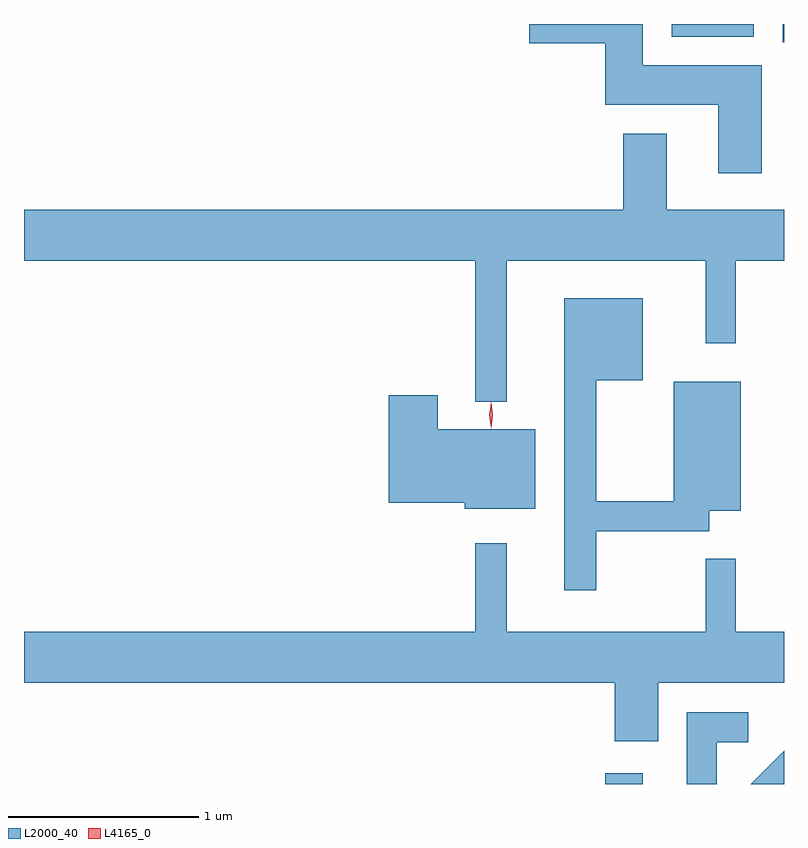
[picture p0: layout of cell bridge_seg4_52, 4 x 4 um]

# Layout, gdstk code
import gdstk
lib = gdstk.Library(unit=1e-6, precision=1e-09)
def R(c, l, rs):  # rectangles x0, y0, x1, y1
    for r in rs: c.add(gdstk.rectangle(r[:2], r[2:], *l))
def P(c, l, *ps):  # polygons
    for p in ps: c.add(gdstk.Polygon(p, *l))
L2000_40 = (2000, 40)
L4165_0 = (4165, 0)

bridge_seg4_52 = lib.new_cell('bridge_seg4_52')
R(bridge_seg4_52, L2000_40, [(1303.466,1365.242,1303.664,1365.299), (1304.401,1369.146,1304.407,1369.242), (1303.816,1369.176,1304.249,1369.242)])
P(bridge_seg4_52, L2000_40, [(1304.289,1369.024),(1303.664,1369.024),(1303.664,1369.242),(1303.066,1369.242),(1303.066,1369.141),(1303.466,1369.141),(1303.466,1368.816),(1304.061,1368.816),(1304.061,1368.456),(1304.289,1368.456)],
  [(1302.949,1367.996),(1303.996,1367.996),(1303.996,1367.563),(1304.154,1367.563),(1304.154,1367.996),(1304.407,1367.996),(1304.407,1368.264),(1303.789,1368.264),(1303.789,1368.664),(1303.561,1368.664),(1303.561,1368.264),(1300.407,1368.264),(1300.407,1367.996),(1302.781,1367.996),(1302.781,1367.253),(1302.949,1367.253)],
  [(1303.419,1366.571),(1304.014,1366.571),(1304.014,1366.681),(1304.179,1366.681),(1304.179,1367.359),(1303.826,1367.359),(1303.826,1366.729),(1303.419,1366.729),(1303.419,1367.366),(1303.664,1367.366),(1303.664,1367.799),(1303.251,1367.799),(1303.251,1366.263),(1303.419,1366.263)],
  [(1303.099,1367.109),(1302.584,1367.109),(1302.584,1367.289),(1302.326,1367.289),(1302.326,1366.721),(1302.726,1366.721),(1302.726,1366.691),(1303.099,1366.691)],
  [(1304.407,1366.044),(1304.154,1366.044),(1304.154,1366.428),(1303.996,1366.428),(1303.996,1366.044),(1302.949,1366.044),(1302.949,1366.508),(1302.781,1366.508),(1302.781,1366.044),(1300.407,1366.044),(1300.407,1365.776),(1303.516,1365.776),(1303.516,1365.466),(1303.744,1365.466),(1303.744,1365.776),(1304.407,1365.776)],
  [(1304.054,1365.461),(1304.218,1365.461),(1304.218,1365.619),(1303.896,1365.619),(1303.896,1365.242),(1304.054,1365.242)],
  [(1304.407,1365.417),(1304.231,1365.242),(1304.407,1365.242)])
P(bridge_seg4_52, L4165_0, [(1302.865,1367.114),(1302.865,1367.114),(1302.855,1367.182),(1302.865,1367.25),(1302.865,1367.25),(1302.866,1367.25),(1302.875,1367.182),(1302.866,1367.114)])

lib.write_gds('bridge_seg4_52.gds')
